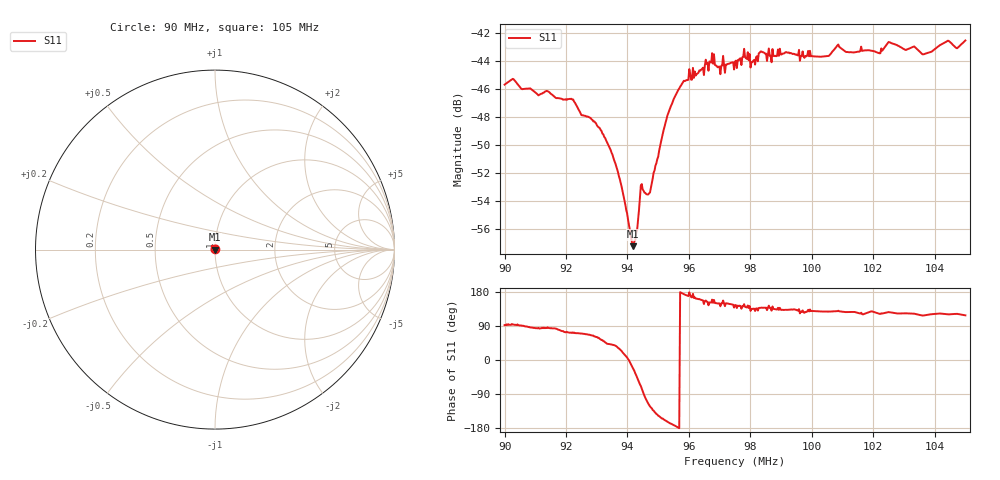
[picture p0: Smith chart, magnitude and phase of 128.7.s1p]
# HZ S RI R 50
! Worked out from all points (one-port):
!   505 points, 90 MHz to 105 MHz, reference 50 ohm
!   lowest |S11| = -57.2 dB at 94.17 MHz (marker M1), VSWR 1.00, Z = 50.1 - j0.0462 ohm
!   |S11| at or under -10 dB: start of sweep to end of sweep
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9e7  -0.00019 0.00518
9.026786e7  -0.000335 0.00543
9.187501e7  0.0011 0.00447
9.220239e7  0.00136 0.00438
9.309525e7  0.00203 0.00301
9.345239e7  0.00228 0.002
9.375001e7  0.0021 0.00113
9.416668e7  0.0013 -0.000461
9.428573e7  0.00117 -0.001
9.44643e7  0.00057 -0.00222
9.473216e7  -0.00115 -0.0018
9.526787e7  -0.00368 -0.00127
9.562502e7  -0.00488 -0.000249
9.675597e7  -0.00629 0.00236
9.696431e7  -0.00517 0.00306
9.750002e7  -0.00513 0.00361
9.785717e7  -0.00488 0.00421
9.80655e7  -0.00441 0.00442
9.836312e7  -0.00507 0.00455
9.937503e7  -0.00455 0.00488
1.00506e8  -0.00401 0.00519
1.008631e8  -0.00463 0.00553
1.0125e8  -0.00405 0.00543
1.021727e8  -0.00364 0.00566
1.025298e8  -0.00432 0.00594
1.03125e8  -0.00378 0.00583
1.036608e8  -0.00311 0.0059
1.05e8  -0.00348 0.0066
